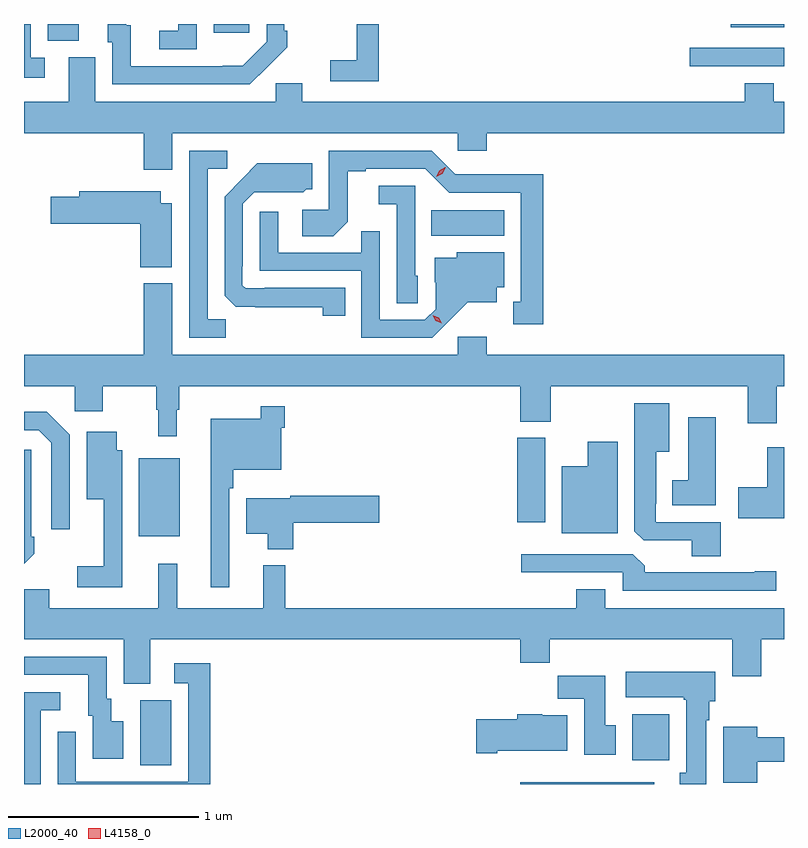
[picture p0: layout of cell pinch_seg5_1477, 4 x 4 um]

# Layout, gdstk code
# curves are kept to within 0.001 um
import gdstk
lib = gdstk.Library(unit=1e-6, precision=1e-09)
def R(c, l, rs):  # rectangles x0, y0, x1, y1
    for r in rs: c.add(gdstk.rectangle(r[:2], r[2:], *l))
def P(c, l, *ps):  # polygons
    for p in ps: c.add(gdstk.Polygon(p, *l))
L2000_40 = (2000, 40)
L4158_0 = (4158, 0)

pinch_seg5_1477 = lib.new_cell('pinch_seg5_1477')
R(pinch_seg5_1477, L2000_40, [(305.003,858.662,305.707,858.67), (303.002,858.76,303.166,859.104), (305.591,858.788,305.788,859.03), (302.996,859.967,303.211,860.377), (304.988,860.04,305.134,860.484), (304.534,861.548,304.918,861.682), (305.895,862.44,306.391,862.536), (302.516,862.573,302.68,862.662), (303.389,862.617,303.577,862.662), (306.11,862.646,306.391,862.662)])
P(pinch_seg5_1477, L2000_40, [(302.5,862.485),(302.427,862.485),(302.427,862.662),(302.391,862.662),(302.391,862.38),(302.5,862.38)],
  [(303.671,862.435),(303.672,862.434),(303.777,862.539),(303.777,862.627),(303.762,862.627),(303.762,862.662),(303.669,862.662),(303.669,862.569),(303.541,862.441),(303.437,862.44),(302.953,862.44),(302.953,862.656),(302.929,862.656),(302.929,862.662),(302.831,862.662),(302.831,862.566),(302.856,862.566),(302.856,862.344),(303.58,862.344)],
  [(303.3,862.662),(303.204,862.662),(303.204,862.626),(303.102,862.626),(303.102,862.53),(303.3,862.53)],
  [(304.259,862.662),(304.142,862.662),(304.142,862.471),(304.002,862.471),(304.002,862.362),(304.259,862.362)],
  [(303.172,862.088),(304.674,862.088),(304.674,861.995),(304.826,861.995),(304.826,862.088),(306.391,862.088),(306.391,862.252),(306.337,862.252),(306.337,862.351),(306.185,862.351),(306.185,862.252),(303.856,862.252),(303.856,862.35),(303.717,862.35),(303.717,862.252),(302.767,862.252),(302.767,862.488),(302.627,862.488),(302.627,862.252),(302.391,862.252),(302.391,862.088),(303.02,862.088),(303.02,861.894),(303.172,861.894)],
  [(303.453,861.107),(303.357,861.107),(303.357,861.9),(303.46,861.9),(303.46,861.996),(303.261,861.996),(303.261,861.012),(303.453,861.012)],
  [(305.125,861.872),(304.884,861.872),(304.884,861.87),(304.662,861.87),(304.536,861.996),(303.996,861.996),(303.996,861.684),(303.855,861.684),(303.855,861.544),(304.019,861.544),(304.095,861.62),(304.095,861.888),(304.189,861.888),(304.189,861.9),(304.503,861.9),(304.629,861.774),(305.006,861.774),(305.006,861.201),(304.967,861.201),(304.967,861.081),(305.125,861.081)],
  [(304.082,861.273),(303.658,861.273),(303.658,861.27),(303.558,861.27),(303.54,861.288),(303.54,861.388),(303.543,861.388),(303.543,861.717),(303.603,861.777),(303.86,861.776),(303.876,861.792),(303.907,861.792),(303.907,861.928),(303.619,861.928),(303.447,861.754),(303.447,861.232),(303.506,861.173),(303.964,861.172),(303.964,861.126),(304.082,861.126)],
  [(304.464,861.336),(304.449,861.336),(304.449,861.81),(304.257,861.81),(304.257,861.713),(304.353,861.713),(304.353,861.193),(304.464,861.193)],
  [(303.169,861.718),(303.112,861.718),(303.112,861.783),(302.681,861.783),(302.681,861.753),(302.532,861.753),(302.532,861.611),(303.002,861.611),(303.002,861.383),(303.169,861.383)],
  [(304.624,861.095),(304.727,861.197),(304.879,861.197),(304.879,861.276),(304.918,861.276),(304.918,861.46),(304.668,861.46),(304.668,861.433),(304.553,861.433),(304.553,861.304),(304.557,861.304),(304.557,861.162),(304.5,861.105),(304.263,861.105),(304.263,861.572),(304.165,861.572),(304.165,861.459),(303.729,861.459),(303.729,861.673),(303.633,861.673),(303.633,861.363),(304.167,861.363),(304.167,861.012),(304.54,861.012)],
  [(303.196,860.633),(303.208,860.633),(303.208,860.756),(305.003,860.756),(305.003,860.569),(305.163,860.569),(305.163,860.756),(306.2,860.756),(306.2,860.562),(306.353,860.562),(306.353,860.756),(306.391,860.756),(306.391,860.92),(304.826,860.92),(304.826,861.016),(304.674,861.016),(304.674,860.92),(303.172,860.92),(303.172,861.298),(303.02,861.298),(303.02,860.92),(302.391,860.92),(302.391,860.756),(302.658,860.756),(302.658,860.625),(302.805,860.625),(302.805,860.756),(303.087,860.756),(303.087,860.633),(303.097,860.633),(303.097,860.493),(303.196,860.493)],
  [(306.059,860.04),(305.715,860.04),(305.715,860.137),(305.719,860.137),(305.719,860.411),(305.788,860.411),(305.788,860.665),(305.603,860.665),(305.603,859.993),(305.652,859.944),(305.906,859.944),(305.906,859.861),(306.059,859.861)],
  [(303.471,860.219),(303.491,860.219),(303.491,860.315),(303.744,860.315),(303.744,860.537),(303.764,860.537),(303.764,860.65),(303.636,860.65),(303.636,860.584),(303.374,860.584),(303.374,859.698),(303.471,859.698)],
  [(302.631,860.499),(302.51,860.62),(302.391,860.62),(302.391,860.523),(302.469,860.523),(302.535,860.457),(302.535,860.004),(302.631,860.004)],
  [(306.031,860.593),(305.888,860.593),(305.888,860.26),(305.804,860.26),(305.804,860.129),(306.031,860.129)],
  [(302.907,860.419),(302.878,860.419),(302.878,860.515),(302.72,860.515),(302.72,860.162),(302.81,860.162),(302.81,859.807),(302.67,859.807),(302.67,859.698),(302.907,859.698)],
  [(305.515,860.464),(305.357,860.464),(305.357,860.335),(305.222,860.335),(305.222,859.982),(305.515,859.982)],
  [(306.391,860.434),(306.302,860.434),(306.302,860.223),(306.15,860.223),(306.15,860.06),(306.391,860.06)],
  [(302.445,859.875),(302.445,859.963),(302.43,859.963),(302.43,860.421),(302.391,860.421),(302.391,859.821)],
  [(303.809,860.038),(304.261,860.038),(304.261,860.18),(303.792,860.18),(303.792,860.167),(303.56,860.167),(303.56,859.979),(303.674,859.979),(303.674,859.898),(303.809,859.898)],
  [(306.349,859.781),(306.236,859.781),(306.236,859.776),(305.657,859.776),(305.657,859.81),(305.595,859.872),(305.007,859.872),(305.007,859.776),(305.541,859.776),(305.541,859.68),(306.349,859.68)],
  [(303.055,859.424),(305.003,859.424),(305.003,859.3),(305.159,859.3),(305.159,859.424),(306.119,859.424),(306.119,859.23),(306.272,859.23),(306.272,859.424),(306.391,859.424),(306.391,859.588),(305.449,859.588),(305.449,859.687),(305.297,859.687),(305.297,859.588),(303.767,859.588),(303.767,859.813),(303.65,859.813),(303.65,859.588),(303.197,859.588),(303.197,859.822),(303.098,859.822),(303.098,859.588),(302.524,859.588),(302.524,859.686),(302.391,859.686),(302.391,859.424),(302.915,859.424),(302.915,859.189),(303.055,859.189)],
  [(302.914,858.991),(302.851,858.991),(302.851,859.11),(302.826,859.11),(302.826,859.332),(302.391,859.332),(302.391,859.236),(302.729,859.236),(302.729,859.02),(302.753,859.02),(302.753,858.795),(302.914,858.795)],
  [(303.371,859.297),(303.183,859.297),(303.183,859.191),(303.255,859.191),(303.255,858.675),(302.664,858.675),(302.664,858.937),(302.568,858.937),(302.568,858.682),(302.569,858.682),(302.569,858.662),(303.371,858.662)],
  [(305.983,858.998),(305.998,858.998),(305.998,859.098),(306.028,859.098),(306.028,859.252),(305.559,859.252),(305.559,859.118),(305.863,859.118),(305.863,859.105),(305.876,859.105),(305.876,858.722),(305.843,858.722),(305.843,858.662),(305.983,858.662)],
  [(305.506,858.972),(305.449,858.972),(305.449,859.231),(305.2,859.231),(305.2,859.112),(305.339,859.112),(305.339,858.816),(305.506,858.816)],
  [(302.478,859.05),(302.581,859.05),(302.581,859.146),(302.391,859.146),(302.391,858.662),(302.478,858.662)],
  [(304.882,858.836),(305.251,858.836),(305.251,859.024),(305.118,859.024),(305.118,859.03),(304.988,859.03),(304.988,859.002),(304.77,859.002),(304.77,858.824),(304.882,858.824)],
  [(306.25,858.78),(306.391,858.78),(306.391,858.908),(306.25,858.908),(306.25,858.964),(306.071,858.964),(306.071,858.668),(306.25,858.668)])
P(pinch_seg5_1477, L4158_0, [(304.59,861.086),(304.559,861.101),(304.542,861.13),(304.542,861.13),(304.542,861.13),(304.573,861.115),(304.59,861.086),(304.59,861.086)],
  [(304.56,861.857),(304.56,861.857),(304.577,861.889),(304.609,861.908),(304.61,861.908),(304.61,861.908),(304.592,861.875),(304.56,861.857)])

lib.write_gds('pinch_seg5_1477.gds')
